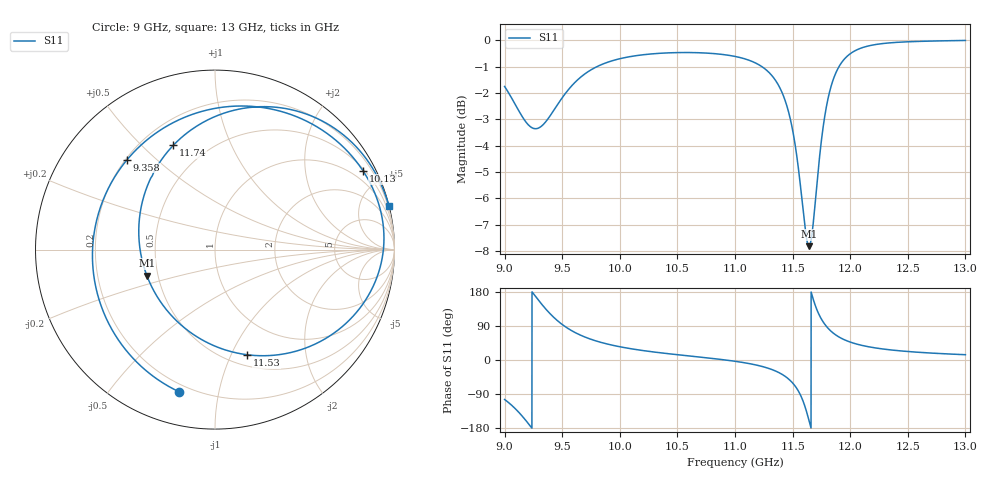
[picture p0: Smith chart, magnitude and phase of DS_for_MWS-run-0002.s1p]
! TOUCHSTONE file generated by CST DESIGN STUDIO
! Date and time: Tue Feb  4 17:35:03 2025
! Project name: C:\Work\MatlabApps\UnitCellOptimizationMatlab\CST\unitcell.cst
! Tree item: Tasks\Sweep1\SPara1\S-Parameters
! Header version: 2024
! Port assignment regex: !\s*Touchstone port\s*([0-9]+)\s*=\s*(CST MWS port|CST DES external port|CST DES block port)\s*(.+)\s* \(\"(.*)\"\)(\s*mode\s*([0-9]+))?.*
! Touchstone port assignment:
! Touchstone port 1 = CST DES external port 1 ("")
# GHz S MA R 50
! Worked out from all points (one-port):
!   4001 points, 9 GHz to 13 GHz, reference 50 ohm
!   lowest |S11| = -7.8 dB at 11.64 GHz (marker M1), VSWR 2.37, Z = 21.7 - j7.51 ohm
!   |S11| at or under -10 dB: nowhere
!   S11 on the Smith chart (normalised r, x): 9 GHz: 0.16, -0.77; 9.358 GHz: 0.21, +0.41; 10.13 GHz: 0.57, +3.93; 11.53 GHz: 0.61, -1.15; 11.74 GHz: 0.33, +0.63; 13 GHz: 0.03, +8.17
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9  0.817 -104.2
9.095  0.7534 -129.2
9.2  0.6931 -165.5
9.275  0.6794 165.2
9.358  0.7006 134.3
9.427  0.7362 112.4
9.5  0.7776 93.7
9.611  0.8319 72.6
9.723  0.8712 57.6
10  0.9224 35.0
10.132  0.9342 28.0
10.5  0.9475 14.0
11  0.9317 -3.4
11.321  0.8565 -25.2
11.42  0.7846 -40.0
11.5  0.6755 -60.6
11.532  0.6124 -73.1
11.588  0.4821 -106.2
11.642  0.4065 -159.2
11.689  0.4725 150.9
11.743  0.6258 111.8
11.785  0.7303 92.0
11.834  0.8175 75.9
11.911  0.8973 59.2
12  0.9427 47.3
12.192  0.979 33.2
12.5  0.9933 22.4
13  0.9991 14.0
